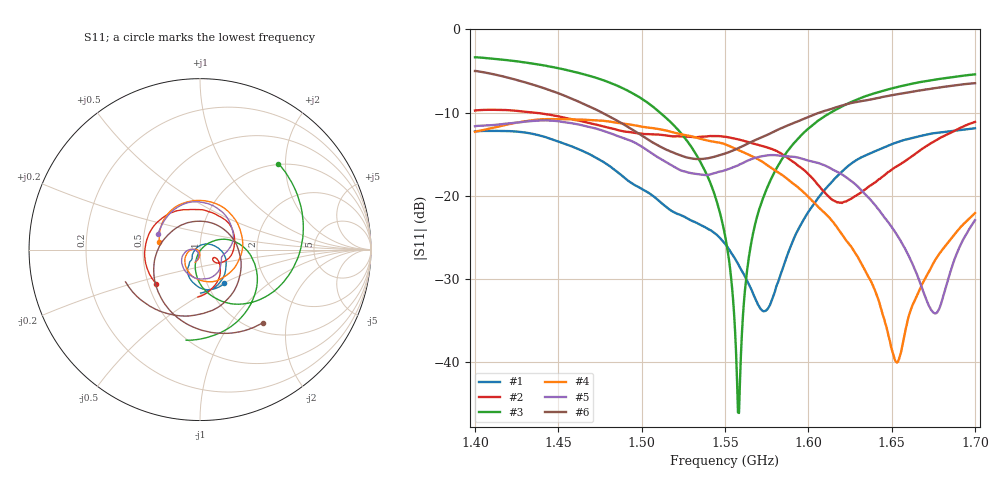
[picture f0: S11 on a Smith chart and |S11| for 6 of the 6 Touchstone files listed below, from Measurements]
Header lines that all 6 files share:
# GHZ S RI R 50.000000000000
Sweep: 1.4 GHz to 1.7 GHz
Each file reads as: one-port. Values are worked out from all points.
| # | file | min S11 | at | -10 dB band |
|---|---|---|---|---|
| 1 | s11_combiner.s1p | -33.9 dB | 1.573 GHz | over 300 MHz wide |
| 2 | s11_comp_2p2_8n0_combiner_smb.s1p | -20.9 dB | 1.62 GHz | over 265 MHz wide |
| 3 | s11_comp_2p2_8n2.s1p | -46.1 dB | 1.558 GHz | 102.5 MHz wide |
| 4 | s11_comp_2p2_8n2_combiner_switch_smb.s1p | -40.1 dB | 1.653 GHz | over 300 MHz wide |
| 5 | s11_full_cap.s1p | -34.2 dB | 1.676 GHz | over 300 MHz wide |
| 6 | s11_uncomp.s1p | -15.6 dB | 1.535 GHz | 130.8 MHz wide |
